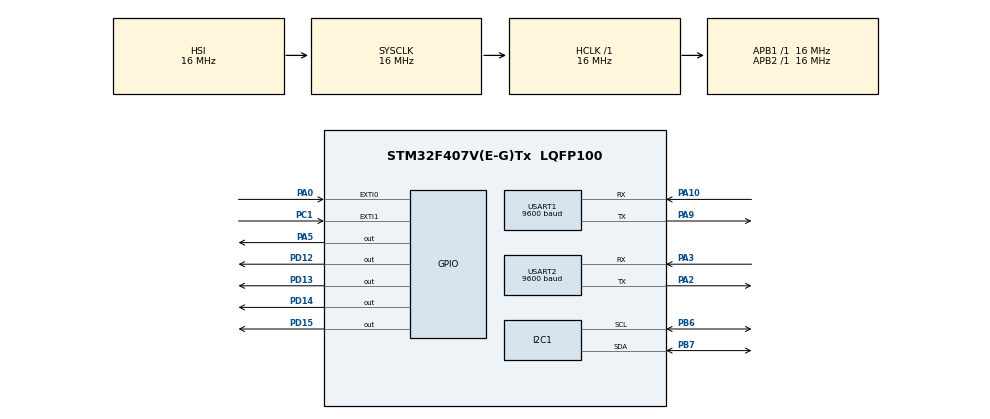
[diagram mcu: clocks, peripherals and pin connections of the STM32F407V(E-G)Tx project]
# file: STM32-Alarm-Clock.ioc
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Mcu.Family=STM32F4
Dma.USART2_RX.2.PeriphDataAlignment=DMA_PDATAALIGN_BYTE
Dma.I2C1_RX.0.PeriphInc=DMA_PINC_DISABLE
Dma.USART1_RX.1.Instance=DMA2_Stream2
RCC.CortexFreq_Value=16000000
Dma.USART1_RX.1.MemDataAlignment=DMA_MDATAALIGN_BYTE
Dma.I2C1_RX.0.MemDataAlignment=DMA_MDATAALIGN_BYTE
NVIC.I2C1_EV_IRQn=true\:0\:0\:false\:false\:true\:true\:true
PA10.Mode=Asynchronous
USART1.BaudRate=9600
NVIC.USART2_IRQn=true\:0\:0\:false\:false\:true\:true\:true
USART2.BaudRate=9600
Dma.USART2_RX.2.Mode=DMA_CIRCULAR
ProjectManager.StackSize=0x400
PA0-WKUP.Signal=GPXTI0
PA3.Mode=Asynchronous
PD13.Signal=GPIO_Output
PA9.Mode=Asynchronous
NVIC.EXTI1_IRQn=true\:0\:0\:false\:false\:true\:true\:true
Dma.USART2_RX.2.MemInc=DMA_MINC_ENABLE
ProjectManager.TargetToolchain=STM32CubeIDE
NVIC.DMA1_Stream5_IRQn=true\:0\:0\:false\:false\:true\:false\:true
PA9.Signal=USART1_TX
PB6.Signal=I2C1_SCL
Dma.I2C1_RX.0.MemInc=DMA_MINC_ENABLE
Dma.I2C1_RX.0.PeriphDataAlignment=DMA_PDATAALIGN_BYTE
PB6.Mode=I2C
Dma.USART2_RX.2.Priority=DMA_PRIORITY_LOW
Dma.USART2_RX.2.MemDataAlignment=DMA_MDATAALIGN_BYTE
Dma.USART1_RX.1.MemInc=DMA_MINC_ENABLE
RCC.LSE_VALUE=32768
RCC.AHBFreq_Value=16000000
Dma.I2C1_RX.0.Priority=DMA_PRIORITY_LOW
PA5.Signal=GPIO_Output
RCC.HSE_VALUE=25000000
Dma.USART1_RX.1.PeriphDataAlignment=DMA_PDATAALIGN_BYTE
Dma.USART1_RX.1.FIFOMode=DMA_FIFOMODE_DISABLE
board=custom
Dma.I2C1_RX.0.Mode=DMA_CIRCULAR
PC1.GPIO_PuPd=GPIO_NOPULL
RCC.VCOOutputFreq_Value=192000000
Dma.USART2_RX.2.PeriphInc=DMA_PINC_DISABLE
RCC.APB2Freq_Value=16000000
PB7.Signal=I2C1_SDA
Dma.I2C1_RX.0.Direction=DMA_PERIPH_TO_MEMORY
NVIC.I2C1_ER_IRQn=true\:0\:0\:false\:false\:true\:true\:true
Mcu.Name=STM32F407V(E-G)Tx
PA2.Signal=USART2_TX
PD14.Signal=GPIO_Output
Dma.USART1_RX.1.Mode=DMA_CIRCULAR
NVIC.EXTI0_IRQn=true\:0\:0\:false\:false\:true\:true\:true
RCC.SYSCLKFreq_VALUE=16000000
Mcu.Package=LQFP100
Dma.USART2_RX.2.Instance=DMA1_Stream5
USART2.VirtualMode=VM_ASYNC
PD12.Signal=GPIO_Output
USART1.VirtualMode=VM_ASYNC
PB7.Mode=I2C
PA10.Signal=USART1_RX
ProjectManager.HeapSize=0x200
Dma.I2C1_RX.0.FIFOMode=DMA_FIFOMODE_DISABLE
Dma.USART2_RX.2.Direction=DMA_PERIPH_TO_MEMORY
RCC.HSI_VALUE=16000000
Dma.USART1_RX.1.PeriphInc=DMA_PINC_DISABLE
NVIC.PriorityGroup=NVIC_PRIORITYGROUP_4
NVIC.DMA2_Stream2_IRQn=true\:0\:0\:false\:false\:true\:false\:true
PC1.GPIO_ModeDefaultEXTI=GPIO_MODE_IT_FALLING
Dma.Request2=USART2_RX
Dma.Request1=USART1_RX
PA2.Mode=Asynchronous
Dma.USART2_RX.2.FIFOMode=DMA_FIFOMODE_DISABLE
NVIC.DMA1_Stream0_IRQn=true\:0\:0\:false\:false\:true\:false\:true
Dma.USART1_RX.1.Direction=DMA_PERIPH_TO_MEMORY
Dma.USART1_RX.1.Priority=DMA_PRIORITY_LOW
NVIC.USART1_IRQn=true\:0\:0\:false\:false\:true\:true\:true
Dma.Request0=I2C1_RX
RCC.APB1Freq_Value=16000000
Dma.I2C1_RX.0.Instance=DMA1_Stream0
PD15.Signal=GPIO_Output
PC1.Signal=GPXTI1
PA3.Signal=USART2_RX

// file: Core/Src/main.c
/* USER CODE BEGIN Header */
/**
  ******************************************************************************
  * @file           : main.c
  * @brief          : Main program body
  ******************************************************************************
  * @attention
  *
  * <h2><center>&copy; Copyright (c) 2021 STMicroelectronics.
  * All rights reserved.</center></h2>
  *
  * This software component is licensed by ST under BSD 3-Clause license,
  * the "License"; You may not use this file except in compliance with the
  * License. You may obtain a copy of the License at:
  *                        opensource.org/licenses/BSD-3-Clause
  *
  ******************************************************************************
  */
/* USER CODE END Header */
#include "main.h"

/* USER CODE BEGIN Includes */
#include <stdbool.h>
#include <string.h>
#include "RTC_interface.h"
#include "1602_I2C_LCD.h"
/* USER CODE END Includes */

/* USER CODE BEGIN PM */
#define Orange_LED_Pin GPIO_PIN_13
#define Orange_LED_GPIO_Port GPIOD
/* USER CODE END PM */

DMA_HandleTypeDef hdma_i2c1_rx;

UART_HandleTypeDef huart1;
DMA_HandleTypeDef hdma_usart1_rx;
DMA_HandleTypeDef hdma_usart2_rx;

void SystemClock_Config(void);
static void MX_GPIO_Init(void);
static void MX_DMA_Init(void);
static void MX_I2C1_Init(void);
static void MX_USART1_UART_Init(void);
static void MX_USART2_UART_Init(void);

/* USER CODE BEGIN 0 */
//alarms
uint8_t alarm[] = {0x01,0x02};
/* USER CODE END 0 */

int main(void)
{
  /* USER CODE BEGIN 1 */
	GPIO_InitTypeDef GPIO_InitStruct = {0};
  /* USER CODE END 1 */

  /* MCU Configuration--------------------------------------------------------*/

  /* Reset of all peripherals, Initializes the Flash interface and the Systick. */
  HAL_Init();

  /* Configure the system clock */
  SystemClock_Config();

  /* Initialize all configured peripherals */
  MX_GPIO_Init();
  MX_DMA_Init();
  MX_I2C1_Init();
  MX_USART1_UART_Init();
  MX_USART2_UART_Init();
  /* USER CODE BEGIN 2 */

  *txData = "Hello \n";

  HAL_UART_Receive_DMA(&huart2, (uint8_t *)rxData, 1);

  HAL_UART_Transmit(&huart2,(uint8_t*) txData,strlen(txData), 50);

  //Init LCD
  lcd_init();
  lcd_clear();

  lcd_put_cur(0,0);
  lcd_send_string("Hello World!");

//  lcd_put_cur(1,0);
//  lcd_send_string("From STM32!");
  HAL_Delay(500);

  //Time settings
  RTC_INIT_TIME();
  //Set time
  RTC_Set_Time(0x65, 0x00, 0x00);
  RTC_Day_Date(0x01, 0x20);

  //Alarm settings
  RTC_Set_Alarm(alarm[0], 0x65, 0x00, 0x10);

  memset(g_user_buffer,0,sizeof(g_user_buffer));

  /* USER CODE END 2 */

  /* Infinite loop */
  while (1)
  {

    /* USER CODE BEGIN 3 */

	//Read time
	  RTC_Display_Time();

	HAL_Delay(30);

	if(b_button_pressed)
	{
		HAL_Delay(500);
		b_button_pressed = false;

		sprintf(txData,"Would you like to set alarm (2 = Yes/1 = No)?");
		HAL_UART_Transmit(&huart2,(uint8_t*) txData,strlen(txData), 50);
		while(!b_message_received);
		HAL_Delay(100);
		b_message_received = false;
		if(strcmp(g_user_buffer,"Yes\n") == 0)
		{
			sprintf(txData,"\nSetting Alarm\n");
			HAL_UART_Transmit(&huart2,(uint8_t*) txData,strlen(txData), 50);
			RTC_User_Set_Time(true);
		}
		else
		{
			sprintf(txData,"\nSetting Time\n");
			HAL_UART_Transmit(&huart2,(uint8_t*) txData,strlen(txData), 50);
			RTC_User_Set_Time(false);
		}
	}
	else
	{
		HAL_GPIO_WritePin(GPIOD, GPIO_PIN_14, GPIO_PIN_RESET);
	}

	if(RTC_Alarm_triggered(alarm[0]))
	{
		RTC_Display_Time();
		HAL_GPIO_WritePin(GPIOD, GPIO_PIN_12, GPIO_PIN_SET);
		RTC_Clear_Alarm_IT(alarm[0]);
		HAL_Delay(1000);
		HAL_GPIO_WritePin(GPIOD, GPIO_PIN_12, GPIO_PIN_RESET);
	}

  }

  /* USER CODE END 3 */
}

void SystemClock_Config(void)
{
  RCC_OscInitTypeDef RCC_OscInitStruct = {0};
  RCC_ClkInitTypeDef RCC_ClkInitStruct = {0};

  /** Configure the main internal regulator output voltage
  */
  __HAL_RCC_PWR_CLK_ENABLE();
  __HAL_PWR_VOLTAGESCALING_CONFIG(PWR_REGULATOR_VOLTAGE_SCALE1);
  /** Initializes the RCC Oscillators according to the specified parameters
  * in the RCC_OscInitTypeDef structure.
  */
  RCC_OscInitStruct.OscillatorType = RCC_OSCILLATORTYPE_HSI;
  RCC_OscInitStruct.HSIState = RCC_HSI_ON;
  RCC_OscInitStruct.HSICalibrationValue = RCC_HSICALIBRATION_DEFAULT;
  RCC_OscInitStruct.PLL.PLLState = RCC_PLL_NONE;
  if (HAL_RCC_OscConfig(&RCC_OscInitStruct) != HAL_OK)
  {
    Error_Handler();
  }
  /** Initializes the CPU, AHB and APB buses clocks
  */
  RCC_ClkInitStruct.ClockType = RCC_CLOCKTYPE_HCLK|RCC_CLOCKTYPE_SYSCLK
                              |RCC_CLOCKTYPE_PCLK1|RCC_CLOCKTYPE_PCLK2;
  RCC_ClkInitStruct.SYSCLKSource = RCC_SYSCLKSOURCE_HSI;
  RCC_ClkInitStruct.AHBCLKDivider = RCC_SYSCLK_DIV1;
  RCC_ClkInitStruct.APB1CLKDivider = RCC_HCLK_DIV1;
  RCC_ClkInitStruct.APB2CLKDivider = RCC_HCLK_DIV1;

  if (HAL_RCC_ClockConfig(&RCC_ClkInitStruct, FLASH_LATENCY_0) != HAL_OK)
  {
    Error_Handler();
  }
}

static void MX_I2C1_Init(void)
{

  hi2c1.Instance = I2C1;
  hi2c1.Init.ClockSpeed = 100000;
  hi2c1.Init.DutyCycle = I2C_DUTYCYCLE_2;
  hi2c1.Init.OwnAddress1 = 0;
  hi2c1.Init.AddressingMode = I2C_ADDRESSINGMODE_7BIT;
  hi2c1.Init.DualAddressMode = I2C_DUALADDRESS_DISABLE;
  hi2c1.Init.OwnAddress2 = 0;
  hi2c1.Init.GeneralCallMode = I2C_GENERALCALL_DISABLE;
  hi2c1.Init.NoStretchMode = I2C_NOSTRETCH_DISABLE;
  if (HAL_I2C_Init(&hi2c1) != HAL_OK)
  {
    Error_Handler();
  }

}

static void MX_USART1_UART_Init(void)
{

  huart1.Instance = USART1;
  huart1.Init.BaudRate = 9600;
  huart1.Init.WordLength = UART_WORDLENGTH_8B;
  huart1.Init.StopBits = UART_STOPBITS_1;
  huart1.Init.Parity = UART_PARITY_NONE;
  huart1.Init.Mode = UART_MODE_TX_RX;
  huart1.Init.HwFlowCtl = UART_HWCONTROL_NONE;
  huart1.Init.OverSampling = UART_OVERSAMPLING_16;
  if (HAL_UART_Init(&huart1) != HAL_OK)
  {
    Error_Handler();
  }

}

static void MX_USART2_UART_Init(void)
{

  huart2.Instance = USART2;
  huart2.Init.BaudRate = 9600;
  huart2.Init.WordLength = UART_WORDLENGTH_8B;
  huart2.Init.StopBits = UART_STOPBITS_1;
  huart2.Init.Parity = UART_PARITY_NONE;
  huart2.Init.Mode = UART_MODE_TX_RX;
  huart2.Init.HwFlowCtl = UART_HWCONTROL_NONE;
  huart2.Init.OverSampling = UART_OVERSAMPLING_16;
  if (HAL_UART_Init(&huart2) != HAL_OK)
  {
    Error_Handler();
  }

}

static void MX_DMA_Init(void)
{

  /* DMA controller clock enable */
  __HAL_RCC_DMA1_CLK_ENABLE();
  __HAL_RCC_DMA2_CLK_ENABLE();

  /* DMA interrupt init */
  /* DMA1_Stream0_IRQn interrupt configuration */
  HAL_NVIC_SetPriority(DMA1_Stream0_IRQn, 0, 0);
  HAL_NVIC_EnableIRQ(DMA1_Stream0_IRQn);
  /* DMA1_Stream5_IRQn interrupt configuration */
  HAL_NVIC_SetPriority(DMA1_Stream5_IRQn, 0, 0);
  HAL_NVIC_EnableIRQ(DMA1_Stream5_IRQn);
  /* DMA2_Stream2_IRQn interrupt configuration */
  HAL_NVIC_SetPriority(DMA2_Stream2_IRQn, 0, 0);
  HAL_NVIC_EnableIRQ(DMA2_Stream2_IRQn);

}

static void MX_GPIO_Init(void)
{
  GPIO_InitTypeDef GPIO_InitStruct = {0};

  /* GPIO Ports Clock Enable */
  __HAL_RCC_GPIOC_CLK_ENABLE();
  __HAL_RCC_GPIOA_CLK_ENABLE();
  __HAL_RCC_GPIOD_CLK_ENABLE();
  __HAL_RCC_GPIOB_CLK_ENABLE();

  /*Configure GPIO pin Output Level */
  HAL_GPIO_WritePin(GPIOA, GPIO_PIN_5, GPIO_PIN_RESET);

  /*Configure GPIO pin Output Level */
  HAL_GPIO_WritePin(GPIOD, GPIO_PIN_12|GPIO_PIN_13|GPIO_PIN_14|GPIO_PIN_15, GPIO_PIN_RESET);

  /*Configure GPIO pin : PC1 */
  GPIO_InitStruct.Pin = GPIO_PIN_1;
  GPIO_InitStruct.Mode = GPIO_MODE_IT_FALLING;
  GPIO_InitStruct.Pull = GPIO_NOPULL;
  HAL_GPIO_Init(GPIOC, &GPIO_InitStruct);

  /*Configure GPIO pin : PA0 */
  GPIO_InitStruct.Pin = GPIO_PIN_0;
  GPIO_InitStruct.Mode = GPIO_MODE_IT_RISING;
  GPIO_InitStruct.Pull = GPIO_NOPULL;
  HAL_GPIO_Init(GPIOA, &GPIO_InitStruct);

  /*Configure GPIO pin : PA5 */
  GPIO_InitStruct.Pin = GPIO_PIN_5;
  GPIO_InitStruct.Mode = GPIO_MODE_OUTPUT_PP;
  GPIO_InitStruct.Pull = GPIO_NOPULL;
  GPIO_InitStruct.Speed = GPIO_SPEED_FREQ_LOW;
  HAL_GPIO_Init(GPIOA, &GPIO_InitStruct);

  /*Configure GPIO pins : PD12 PD13 PD14 PD15 */
  GPIO_InitStruct.Pin = GPIO_PIN_12|GPIO_PIN_13|GPIO_PIN_14|GPIO_PIN_15;
  GPIO_InitStruct.Mode = GPIO_MODE_OUTPUT_PP;
  GPIO_InitStruct.Pull = GPIO_NOPULL;
  GPIO_InitStruct.Speed = GPIO_SPEED_FREQ_LOW;
  HAL_GPIO_Init(GPIOD, &GPIO_InitStruct);

  /* EXTI interrupt init*/
  HAL_NVIC_SetPriority(EXTI0_IRQn, 0, 0);
  HAL_NVIC_EnableIRQ(EXTI0_IRQn);

  HAL_NVIC_SetPriority(EXTI1_IRQn, 0, 0);
  HAL_NVIC_EnableIRQ(EXTI1_IRQn);

}

/* USER CODE END 4 */

void Error_Handler(void)
{
  __disable_irq();
  while (1)
  {
  }
}

/************************ (C) COPYRIGHT STMicroelectronics *****END OF FILE****/
